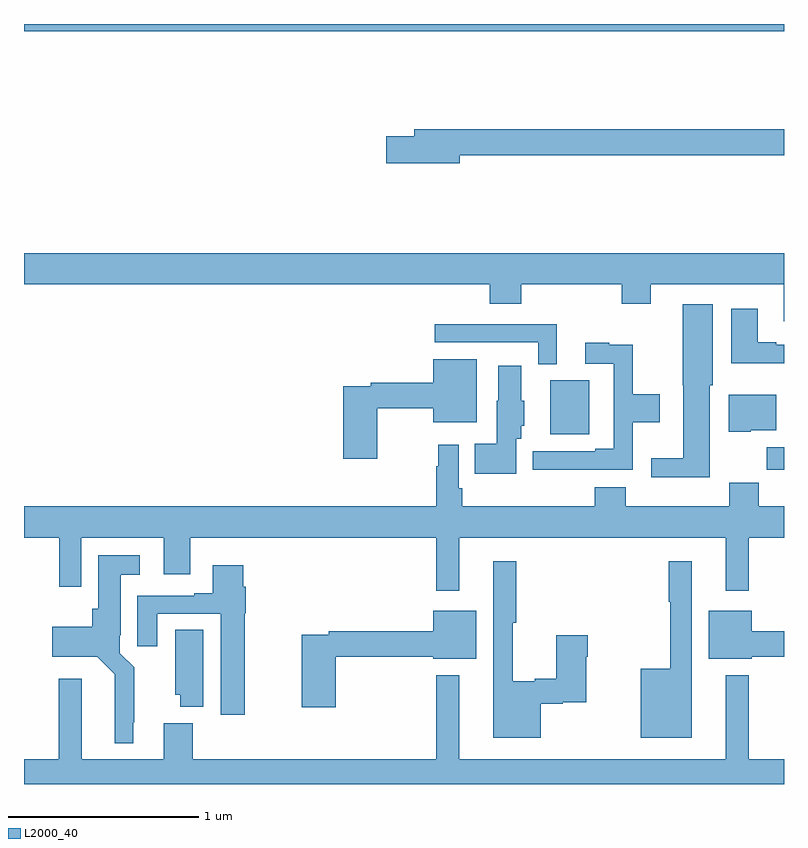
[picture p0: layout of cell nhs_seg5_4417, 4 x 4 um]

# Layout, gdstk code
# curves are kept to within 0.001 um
import gdstk
lib = gdstk.Library(unit=1e-6, precision=1e-09)
def R(c, l, rs):  # rectangles x0, y0, x1, y1
    for r in rs: c.add(gdstk.rectangle(r[:2], r[2:], *l))
def P(c, l, *ps):  # polygons
    for p in ps: c.add(gdstk.Polygon(p, *l))
L2000_40 = (2000, 40)

nhs_seg5_4417 = lib.new_cell('nhs_seg5_4417')
R(nhs_seg5_4417, L2000_40, [(374.908,854.454,375,854.572), (373.769,854.639,373.975,854.923), (371,856.76,375,856.799)])
P(nhs_seg5_4417, L2000_40, [(373.294,856.108),(375,856.108),(375,856.244),(373.055,856.244),(373.055,856.208),(372.906,856.208),(372.906,856.066),(373.294,856.066)],
  [(375,855.592),(371,855.592),(371,855.428),(373.451,855.428),(373.451,855.326),(373.616,855.326),(373.616,855.428),(374.147,855.428),(374.147,855.326),(374.299,855.326),(374.299,855.428),(374.999,855.428),(374.999,855.234),(375,855.234)],
  [(374.608,854.898),(374.626,854.898),(374.626,855.325),(374.468,855.325),(374.468,854.898),(374.471,854.898),(374.471,854.513),(374.301,854.513),(374.301,854.414),(374.608,854.414)],
  [(375,855.111),(374.959,855.111),(374.959,855.124),(374.863,855.124),(374.863,855.301),(374.723,855.301),(374.723,855.014),(375,855.014)],
  [(373.804,855.219),(373.161,855.219),(373.161,855.123),(373.707,855.123),(373.707,855.008),(373.804,855.008)],
  [(373.919,854.454),(374.204,854.454),(374.204,854.702),(374.347,854.702),(374.347,854.85),(374.204,854.85),(374.204,855.11),(374.081,855.11),(374.081,855.121),(373.953,855.121),(373.953,855.012),(374.103,855.012),(374.103,854.563),(374.006,854.563),(374.006,854.55),(373.677,854.55),(373.677,854.453),(373.919,854.453)],
  [(372.858,854.776),(373.154,854.776),(373.154,854.702),(373.384,854.702),(373.384,855.034),(373.154,855.034),(373.154,854.912),(372.826,854.912),(372.826,854.892),(372.68,854.892),(372.68,854.511),(372.858,854.511)],
  [(373.591,854.616),(373.618,854.616),(373.618,854.685),(373.633,854.685),(373.633,854.817),(373.618,854.817),(373.618,855.001),(373.496,855.001),(373.496,854.817),(373.487,854.817),(373.487,854.59),(373.372,854.59),(373.372,854.432),(373.591,854.432)],
  [(374.826,854.66),(374.959,854.66),(374.959,854.848),(374.708,854.848),(374.708,854.654),(374.826,854.654)],
  [(373.291,854.096),(374.693,854.096),(374.693,853.815),(374.815,853.815),(374.815,854.096),(375,854.096),(375,854.26),(374.867,854.26),(374.867,854.384),(374.711,854.384),(374.711,854.26),(374.168,854.26),(374.168,854.362),(374.003,854.362),(374.003,854.26),(373.307,854.26),(373.307,854.356),(373.287,854.356),(373.287,854.584),(373.179,854.584),(373.179,854.471),(373.171,854.471),(373.171,854.26),(371,854.26),(371,854.096),(371.185,854.096),(371.185,853.836),(371.301,853.836),(371.301,854.096),(371.735,854.096),(371.735,853.902),(371.875,853.902),(371.875,854.096),(373.17,854.096),(373.17,853.815),(373.291,853.815)],
  [(371.575,853.123),(371.579,853.123),(371.579,853.414),(371.505,853.488),(371.505,853.582),(371.509,853.582),(371.509,853.901),(371.608,853.901),(371.608,854.002),(371.39,854.002),(371.39,853.722),(371.36,853.722),(371.36,853.627),(371.148,853.627),(371.148,853.469),(371.385,853.469),(371.478,853.376),(371.477,853.013),(371.575,853.013)],
  [(373.72,853.222),(373.836,853.222),(373.836,853.229),(373.96,853.229),(373.96,853.469),(373.968,853.469),(373.968,853.582),(373.802,853.582),(373.802,853.352),(373.688,853.352),(373.688,853.339),(373.573,853.339),(373.573,853.647),(373.591,853.647),(373.591,853.972),(373.469,853.972),(373.469,853.043),(373.72,853.043)],
  [(374.515,853.972),(374.394,853.972),(374.394,853.759),(374.401,853.759),(374.401,853.405),(374.246,853.405),(374.246,853.043),(374.515,853.043)],
  [(372.162,853.698),(372.167,853.698),(372.167,853.838),(372.154,853.838),(372.154,853.951),(371.993,853.951),(371.993,853.804),(371.897,853.804),(371.897,853.791),(371.597,853.791),(371.597,853.524),(371.701,853.524),(371.701,853.695),(372.035,853.695),(372.035,853.164),(372.162,853.164)],
  [(374.83,853.468),(375,853.468),(375,853.604),(374.83,853.604),(374.83,853.711),(374.603,853.711),(374.603,853.457),(374.83,853.457)],
  [(372.641,853.468),(373.154,853.468),(373.154,853.457),(373.381,853.457),(373.381,853.711),(373.154,853.711),(373.154,853.604),(372.604,853.604),(372.604,853.584),(372.463,853.584),(372.463,853.203),(372.641,853.203)],
  [(371.944,853.61),(371.795,853.61),(371.795,853.269),(371.822,853.269),(371.822,853.205),(371.944,853.205)],
  [(375,852.928),(374.815,852.928),(374.815,853.372),(374.693,853.372),(374.693,852.928),(373.291,852.928),(373.291,853.372),(373.17,853.372),(373.17,852.928),(371.888,852.928),(371.888,853.12),(371.735,853.12),(371.735,852.928),(371.305,852.928),(371.305,853.354),(371.183,853.354),(371.183,852.928),(371,852.928),(371,852.799),(375,852.799)])

lib.write_gds('nhs_seg5_4417.gds')
